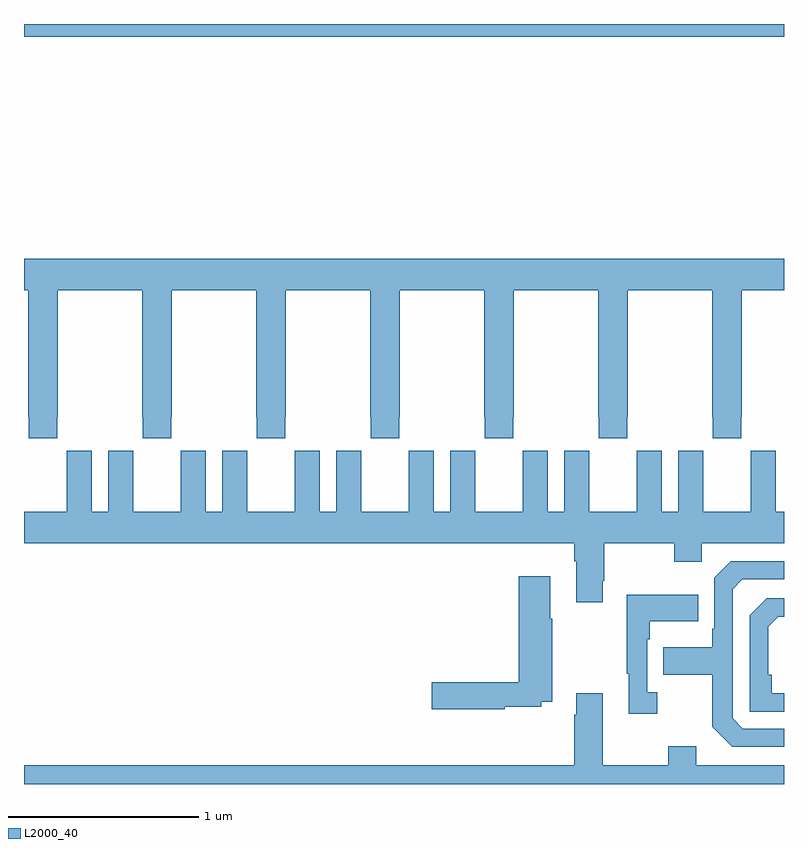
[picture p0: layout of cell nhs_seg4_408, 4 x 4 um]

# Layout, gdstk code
import gdstk
lib = gdstk.Library(unit=1e-6, precision=1e-09)
def R(c, l, rs):  # rectangles x0, y0, x1, y1
    for r in rs: c.add(gdstk.rectangle(r[:2], r[2:], *l))
def P(c, l, *ps):  # polygons
    for p in ps: c.add(gdstk.Polygon(p, *l))
L2000_40 = (2000, 40)

nhs_seg4_408 = lib.new_cell('nhs_seg4_408')
R(nhs_seg4_408, L2000_40, [(131,784.832,135,784.9)])
P(nhs_seg4_408, L2000_40, [(131.175,782.833),(131.178,782.833),(131.178,783.5),(131.623,783.5),(131.623,782.833),(131.625,782.833),(131.625,782.721),(131.775,782.721),(131.775,782.833),(131.778,782.833),(131.778,783.5),(132.223,783.5),(132.223,782.833),(132.225,782.833),(132.225,782.721),(132.375,782.721),(132.375,782.833),(132.378,782.833),(132.378,783.5),(132.823,783.5),(132.823,782.833),(132.825,782.833),(132.825,782.721),(132.975,782.721),(132.975,782.833),(132.978,782.833),(132.978,783.5),(133.423,783.5),(133.423,782.833),(133.425,782.833),(133.425,782.721),(133.575,782.721),(133.575,782.833),(133.578,782.833),(133.578,783.5),(134.023,783.5),(134.023,782.833),(134.025,782.833),(134.025,782.721),(134.175,782.721),(134.175,782.833),(134.178,782.833),(134.178,783.5),(134.623,783.5),(134.623,782.833),(134.625,782.833),(134.625,782.721),(134.775,782.721),(134.775,782.833),(134.778,782.833),(134.778,783.5),(135,783.5),(135,783.664),(131,783.664),(131,783.5),(131.023,783.5),(131.023,782.833),(131.025,782.833),(131.025,782.721),(131.175,782.721)],
  [(133.374,782.54),(133.374,782.653),(133.244,782.653),(133.244,782.332),(133.156,782.332),(133.156,782.653),(133.026,782.653),(133.026,782.54),(133.025,782.54),(133.025,782.332),(132.775,782.332),(132.775,782.54),(132.774,782.54),(132.774,782.653),(132.644,782.653),(132.644,782.332),(132.556,782.332),(132.556,782.653),(132.426,782.653),(132.426,782.54),(132.425,782.54),(132.425,782.332),(132.175,782.332),(132.175,782.54),(132.174,782.54),(132.174,782.653),(132.044,782.653),(132.044,782.332),(131.956,782.332),(131.956,782.653),(131.826,782.653),(131.826,782.54),(131.825,782.54),(131.825,782.332),(131.575,782.332),(131.575,782.54),(131.574,782.54),(131.574,782.653),(131.444,782.653),(131.444,782.332),(131.356,782.332),(131.356,782.653),(131.226,782.653),(131.226,782.54),(131.225,782.54),(131.225,782.332),(131,782.332),(131,782.168),(133.895,782.168),(133.895,782.072),(133.907,782.072),(133.907,781.857),(134.047,781.857),(134.047,781.969),(134.055,781.969),(134.055,782.168),(134.422,782.168),(134.422,782.069),(134.568,782.069),(134.568,782.168),(135,782.168),(135,782.332),(134.956,782.332),(134.956,782.653),(134.826,782.653),(134.826,782.54),(134.825,782.54),(134.825,782.332),(134.575,782.332),(134.575,782.54),(134.574,782.54),(134.574,782.653),(134.444,782.653),(134.444,782.332),(134.356,782.332),(134.356,782.653),(134.226,782.653),(134.226,782.54),(134.225,782.54),(134.225,782.332),(133.975,782.332),(133.975,782.54),(133.974,782.54),(133.974,782.653),(133.844,782.653),(133.844,782.332),(133.756,782.332),(133.756,782.653),(133.626,782.653),(133.626,782.54),(133.625,782.54),(133.625,782.332),(133.375,782.332),(133.375,782.54)],
  [(135,781.191),(134.784,781.191),(134.73,781.245),(134.73,781.926),(134.781,781.977),(135,781.977),(135,782.073),(134.721,782.073),(134.634,781.986),(134.634,781.717),(134.622,781.717),(134.622,781.621),(134.365,781.621),(134.365,781.474),(134.622,781.474),(134.622,781.201),(134.727,781.095),(135,781.095)],
  [(133.53,781.306),(133.722,781.306),(133.722,781.334),(133.779,781.334),(133.779,781.769),(133.771,781.769),(133.771,781.993),(133.604,781.993),(133.604,781.436),(133.146,781.436),(133.146,781.294),(133.53,781.294)],
  [(134.332,781.382),(134.28,781.382),(134.28,781.661),(134.293,781.661),(134.293,781.757),(134.549,781.757),(134.549,781.897),(134.172,781.897),(134.172,781.481),(134.183,781.481),(134.183,781.269),(134.332,781.269)],
  [(135,781.377),(134.936,781.377),(134.936,781.474),(134.916,781.474),(134.916,781.728),(134.969,781.781),(135,781.781),(135,781.878),(134.91,781.878),(134.82,781.788),(134.82,781.281),(135,781.281)],
  [(135,781),(134.539,781),(134.539,781.099),(134.392,781.099),(134.392,781),(134.047,781),(134.047,781.378),(133.907,781.378),(133.907,781.265),(133.895,781.265),(133.895,781),(131,781),(131,780.9),(135,780.9)])

lib.write_gds('nhs_seg4_408.gds')
